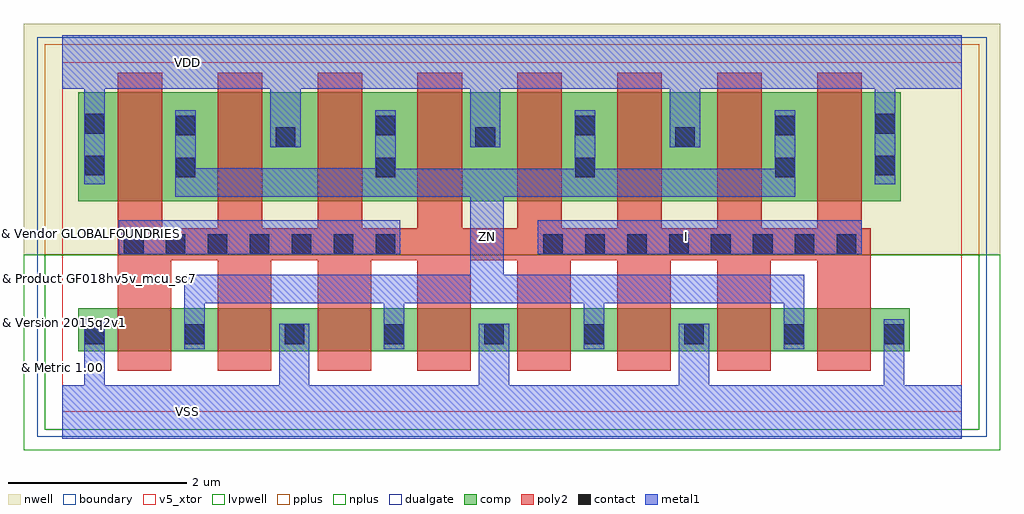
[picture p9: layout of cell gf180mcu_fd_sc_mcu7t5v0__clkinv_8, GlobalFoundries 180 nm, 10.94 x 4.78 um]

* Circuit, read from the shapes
.subckt gf180mcu_fd_sc_mcu7t5v0__clkinv_8 I VDD VSS ZN
XM1 ZN I VSS VSUBS nfet_05v0 w=0.48u l=0.6u m=8
XM2 ZN I VDD n1 pfet_05v0 w=1.22u l=0.5u m=8
.ends

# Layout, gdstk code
import gdstk
lib = gdstk.Library(unit=1e-6, precision=1e-09)
def R(c, l, rs):  # rectangles x0, y0, x1, y1
    for r in rs: c.add(gdstk.rectangle(r[:2], r[2:], *l))
def P(c, l, *ps):  # polygons
    for p in ps: c.add(gdstk.Polygon(p, *l))
boundary = (0, 0)
nwell = (21, 0)
comp = (22, 0)
poly2 = (30, 0)
pplus = (31, 0)
nplus = (32, 0)
contact = (33, 0)
metal1 = (34, 0)
dualgate = (55, 0)
v5_xtor = (112, 1)
lvpwell = (204, 0)

gf180mcu_fd_sc_mcu7t5v0_ = lib.new_cell('gf180mcu_fd_sc_mcu7t5v0__clkinv_8')
R(gf180mcu_fd_sc_mcu7t5v0_, boundary, [(0,0,10.08,3.92), (0,0,10.08,3.92)])
R(gf180mcu_fd_sc_mcu7t5v0_, nwell, [(-0.43,1.76,10.51,4.35), (-0.43,1.76,10.51,4.35)])
R(gf180mcu_fd_sc_mcu7t5v0_, comp, [(0.18,0.68,9.5,1.16), (0.18,0.68,9.5,1.16), (0.18,2.36,9.4,3.58), (0.18,2.36,9.4,3.58)])
P(gf180mcu_fd_sc_mcu7t5v0_, poly2, [(0.62,0.46),(0.62,3.8),(1.12,3.8),(1.12,2.06),(1.74,2.06),(1.74,3.8),(2.24,3.8),(2.24,2.06),(2.86,2.06),(2.86,3.8),(3.36,3.8),(3.36,2.06),(3.98,2.06),(3.98,3.8),(4.48,3.8),(4.48,2.06),(5.1,2.06),(5.1,3.8),(5.6,3.8),(5.6,2.06),(6.22,2.06),(6.22,3.8),(6.72,3.8),(6.72,2.06),(7.34,2.06),(7.34,3.8),(7.84,3.8),(7.84,2.06),(8.46,2.06),(8.46,3.8),(8.96,3.8),(8.96,2.06),(9.06,2.06),(9.06,0.46),(8.46,0.46),(8.46,1.7),(7.94,1.7),(7.94,0.46),(7.34,0.46),(7.34,1.7),(6.82,1.7),(6.82,0.46),(6.22,0.46),(6.22,1.7),(5.7,1.7),(5.7,0.46),(5.1,0.46),(5.1,1.7),(4.58,1.7),(4.58,0.46),(3.98,0.46),(3.98,1.7),(3.46,1.7),(3.46,0.46),(2.86,0.46),(2.86,1.7),(2.34,1.7),(2.34,0.46),(1.74,0.46),(1.74,1.7),(1.22,1.7),(1.22,0.46)],
  [(0.62,0.46),(0.62,3.8),(1.12,3.8),(1.12,2.06),(1.74,2.06),(1.74,3.8),(2.24,3.8),(2.24,2.06),(2.86,2.06),(2.86,3.8),(3.36,3.8),(3.36,2.06),(3.98,2.06),(3.98,3.8),(4.48,3.8),(4.48,2.06),(5.1,2.06),(5.1,3.8),(5.6,3.8),(5.6,2.06),(6.22,2.06),(6.22,3.8),(6.72,3.8),(6.72,2.06),(7.34,2.06),(7.34,3.8),(7.84,3.8),(7.84,2.06),(8.46,2.06),(8.46,3.8),(8.96,3.8),(8.96,2.06),(9.06,2.06),(9.06,0.46),(8.46,0.46),(8.46,1.7),(7.94,1.7),(7.94,0.46),(7.34,0.46),(7.34,1.7),(6.82,1.7),(6.82,0.46),(6.22,0.46),(6.22,1.7),(5.7,1.7),(5.7,0.46),(5.1,0.46),(5.1,1.7),(4.58,1.7),(4.58,0.46),(3.98,0.46),(3.98,1.7),(3.46,1.7),(3.46,0.46),(2.86,0.46),(2.86,1.7),(2.34,1.7),(2.34,0.46),(1.74,0.46),(1.74,1.7),(1.22,1.7),(1.22,0.46)])
R(gf180mcu_fd_sc_mcu7t5v0_, pplus, [(-0.2,1.76,10.28,4.12), (-0.2,1.76,10.28,4.12)])
R(gf180mcu_fd_sc_mcu7t5v0_, nplus, [(-0.2,-0.2,10.28,1.76), (-0.2,-0.2,10.28,1.76)])
R(gf180mcu_fd_sc_mcu7t5v0_, contact, [(0.25,0.76,0.47,0.98), (0.25,0.76,0.47,0.98), (1.37,0.76,1.59,0.98), (1.37,0.76,1.59,0.98), (2.49,0.76,2.71,0.98), (2.49,0.76,2.71,0.98), (3.61,0.76,3.83,0.98), (3.61,0.76,3.83,0.98), (4.73,0.76,4.95,0.98), (4.73,0.76,4.95,0.98), (5.85,0.76,6.07,0.98), (5.85,0.76,6.07,0.98), (6.97,0.76,7.19,0.98), (6.97,0.76,7.19,0.98), (8.09,0.76,8.31,0.98), (8.09,0.76,8.31,0.98), (9.21,0.76,9.43,0.98), (9.21,0.76,9.43,0.98), (0.69,1.77,0.91,1.99), (0.69,1.77,0.91,1.99), (1.16,1.77,1.38,1.99), (1.16,1.77,1.38,1.99), (1.63,1.77,1.85,1.99), (1.63,1.77,1.85,1.99), (2.1,1.77,2.32,1.99), (2.1,1.77,2.32,1.99), (2.57,1.77,2.79,1.99), (2.57,1.77,2.79,1.99), (3.04,1.77,3.26,1.99), (3.04,1.77,3.26,1.99), (3.51,1.77,3.73,1.99), (3.51,1.77,3.73,1.99), (5.39,1.77,5.61,1.99), (5.39,1.77,5.61,1.99), (5.86,1.77,6.08,1.99), (5.86,1.77,6.08,1.99), (6.33,1.77,6.55,1.99), (6.33,1.77,6.55,1.99), (6.8,1.77,7.02,1.99), (6.8,1.77,7.02,1.99), (7.27,1.77,7.49,1.99), (7.27,1.77,7.49,1.99), (7.74,1.77,7.96,1.99), (7.74,1.77,7.96,1.99), (8.21,1.77,8.43,1.99), (8.21,1.77,8.43,1.99), (8.68,1.77,8.9,1.99), (8.68,1.77,8.9,1.99), (1.27,2.63,1.49,2.85), (1.27,2.63,1.49,2.85), (3.51,2.63,3.73,2.85), (3.51,2.63,3.73,2.85), (5.75,2.63,5.97,2.85), (5.75,2.63,5.97,2.85), (7.99,2.63,8.21,2.85), (7.99,2.63,8.21,2.85), (0.25,2.65,0.47,2.87), (0.25,2.65,0.47,2.87), (9.11,2.65,9.33,2.87), (9.11,2.65,9.33,2.87), (2.39,2.97,2.61,3.19), (2.39,2.97,2.61,3.19), (4.63,2.97,4.85,3.19), (4.63,2.97,4.85,3.19), (6.87,2.97,7.09,3.19), (6.87,2.97,7.09,3.19), (1.27,3.1,1.49,3.32), (1.27,3.1,1.49,3.32), (3.51,3.1,3.73,3.32), (3.51,3.1,3.73,3.32), (5.75,3.1,5.97,3.32), (5.75,3.1,5.97,3.32), (7.99,3.1,8.21,3.32), (7.99,3.1,8.21,3.32), (0.25,3.12,0.47,3.34), (0.25,3.12,0.47,3.34), (9.11,3.12,9.33,3.34), (9.11,3.12,9.33,3.34)])
R(gf180mcu_fd_sc_mcu7t5v0_, metal1, [(0.63,1.765,3.79,2.15), (0.63,1.765,3.79,2.15), (5.33,1.765,8.96,2.15), (5.33,1.765,8.96,2.15)])
P(gf180mcu_fd_sc_mcu7t5v0_, metal1, [(1.365,0.7),(1.365,1.535),(4.57,1.535),(4.57,2.41),(1.265,2.41),(1.265,3.38),(1.495,3.38),(1.495,2.73),(3.505,2.73),(3.505,3.38),(3.735,3.38),(3.735,2.725),(5.745,2.725),(5.745,3.38),(5.975,3.38),(5.975,2.725),(7.985,2.725),(7.985,3.38),(8.215,3.38),(8.215,2.41),(4.95,2.41),(4.95,1.535),(8.315,1.535),(8.315,0.7),(8.085,0.7),(8.085,1.215),(6.075,1.215),(6.075,0.7),(5.845,0.7),(5.845,1.215),(3.835,1.215),(3.835,0.7),(3.605,0.7),(3.605,1.215),(1.595,1.215),(1.595,0.7)],
  [(0,-0.3),(0,0.3),(0.245,0.3),(0.245,1.04),(0.475,1.04),(0.475,0.3),(2.43,0.3),(2.43,0.985),(2.77,0.985),(2.77,0.3),(4.67,0.3),(4.67,0.985),(5.01,0.985),(5.01,0.3),(6.91,0.3),(6.91,0.985),(7.25,0.985),(7.25,0.3),(9.205,0.3),(9.205,1.04),(9.435,1.04),(9.435,0.3),(10.08,0.3),(10.08,-0.3)],
  [(0.245,2.55),(0.245,3.62),(0,3.62),(0,4.22),(10.08,4.22),(10.08,3.62),(9.335,3.62),(9.335,2.55),(9.105,2.55),(9.105,3.62),(7.15,3.62),(7.15,2.965),(6.81,2.965),(6.81,3.62),(4.91,3.62),(4.91,2.965),(4.57,2.965),(4.57,3.62),(2.67,3.62),(2.67,2.965),(2.33,2.965),(2.33,3.62),(0.475,3.62),(0.475,2.55)],
  [(1.365,0.7),(1.365,1.535),(4.57,1.535),(4.57,2.41),(1.265,2.41),(1.265,3.38),(1.495,3.38),(1.495,2.73),(3.505,2.73),(3.505,3.38),(3.735,3.38),(3.735,2.725),(5.745,2.725),(5.745,3.38),(5.975,3.38),(5.975,2.725),(7.985,2.725),(7.985,3.38),(8.215,3.38),(8.215,2.41),(4.95,2.41),(4.95,1.535),(8.315,1.535),(8.315,0.7),(8.085,0.7),(8.085,1.215),(6.075,1.215),(6.075,0.7),(5.845,0.7),(5.845,1.215),(3.835,1.215),(3.835,0.7),(3.605,0.7),(3.605,1.215),(1.595,1.215),(1.595,0.7)],
  [(0,-0.3),(0,0.3),(0.245,0.3),(0.245,1.04),(0.475,1.04),(0.475,0.3),(2.43,0.3),(2.43,0.985),(2.77,0.985),(2.77,0.3),(4.67,0.3),(4.67,0.985),(5.01,0.985),(5.01,0.3),(6.91,0.3),(6.91,0.985),(7.25,0.985),(7.25,0.3),(9.205,0.3),(9.205,1.04),(9.435,1.04),(9.435,0.3),(10.08,0.3),(10.08,-0.3)],
  [(0.245,2.55),(0.245,3.62),(0,3.62),(0,4.22),(10.08,4.22),(10.08,3.62),(9.335,3.62),(9.335,2.55),(9.105,2.55),(9.105,3.62),(7.15,3.62),(7.15,2.965),(6.81,2.965),(6.81,3.62),(4.91,3.62),(4.91,2.965),(4.57,2.965),(4.57,3.62),(2.67,3.62),(2.67,2.965),(2.33,2.965),(2.33,3.62),(0.475,3.62),(0.475,2.55)])
R(gf180mcu_fd_sc_mcu7t5v0_, dualgate, [(-0.28,-0.28,10.36,4.2), (-0.28,-0.28,10.36,4.2)])
R(gf180mcu_fd_sc_mcu7t5v0_, v5_xtor, [(0,0,10.08,3.92), (0,0,10.08,3.92)])
R(gf180mcu_fd_sc_mcu7t5v0_, lvpwell, [(-0.43,-0.43,10.51,1.76), (-0.43,-0.43,10.51,1.76)])
gf180mcu_fd_sc_mcu7t5v0_.add(gdstk.Label('VDD', (1.4,3.92), layer=34, texttype=10))
gf180mcu_fd_sc_mcu7t5v0_.add(gdstk.Label('VSS', (1.4,0), layer=34, texttype=10))
gf180mcu_fd_sc_mcu7t5v0_.add(gdstk.Label('ZN', (4.76,1.96), layer=34, texttype=10))
gf180mcu_fd_sc_mcu7t5v0_.add(gdstk.Label('I', (7,1.96), layer=34, texttype=10))
gf180mcu_fd_sc_mcu7t5v0_.add(gdstk.Label('VDD', (1.4,3.92), layer=34, texttype=10))
gf180mcu_fd_sc_mcu7t5v0_.add(gdstk.Label('VSS', (1.4,0), layer=34, texttype=10))
gf180mcu_fd_sc_mcu7t5v0_.add(gdstk.Label('ZN', (4.76,1.96), layer=34, texttype=10))
gf180mcu_fd_sc_mcu7t5v0_.add(gdstk.Label('I', (7,1.96), layer=34, texttype=10))
gf180mcu_fd_sc_mcu7t5v0_.add(gdstk.Label('& Vendor GLOBALFOUNDRIES', (0,2), layer=63, texttype=63))
gf180mcu_fd_sc_mcu7t5v0_.add(gdstk.Label('& Product GF018hv5v_mcu_sc7', (0,1.5), layer=63, texttype=63))
gf180mcu_fd_sc_mcu7t5v0_.add(gdstk.Label('& Version 2015q2v1', (0,1), layer=63, texttype=63))
gf180mcu_fd_sc_mcu7t5v0_.add(gdstk.Label('& Metric 1.00', (0,0.5), layer=63, texttype=63))
gf180mcu_fd_sc_mcu7t5v0_.add(gdstk.Label('& Vendor GLOBALFOUNDRIES', (0,2), layer=63, texttype=63))
gf180mcu_fd_sc_mcu7t5v0_.add(gdstk.Label('& Product GF018hv5v_mcu_sc7', (0,1.5), layer=63, texttype=63))
gf180mcu_fd_sc_mcu7t5v0_.add(gdstk.Label('& Version 2015q2v1', (0,1), layer=63, texttype=63))
gf180mcu_fd_sc_mcu7t5v0_.add(gdstk.Label('& Metric 1.00', (0,0.5), layer=63, texttype=63))

lib.write_gds('gf180mcu_fd_sc_mcu7t5v0__clkinv_8.gds')
